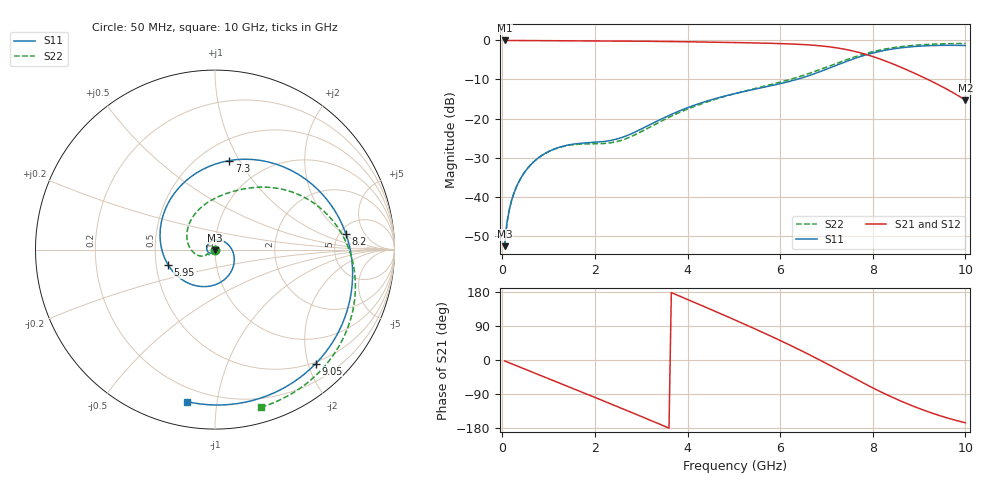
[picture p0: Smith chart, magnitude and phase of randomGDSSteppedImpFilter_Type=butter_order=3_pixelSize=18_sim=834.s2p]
! freq	dB(S11)	phase(S11)	dB(S12)	phase(S12)
!  dB(S21)	phase(S21)	dB(S22)	phase(S22)
!S-par simulation data
#  GHz  S  DB  R 50
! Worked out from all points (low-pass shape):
!   200 points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, 50 MHz to 10 GHz, reference 50 ohm
!   highest |S21| = 0.00 dB at 50 MHz (marker M1); lowest = -15.3 dB at 10 GHz (marker M2)
!   |S21| within 3 dB of the highest: start of sweep to 7.678 GHz
!   lowest |S11| = -52.7 dB at 50 MHz (marker M3), VSWR 1.00, Z = 50 - j0.232 ohm
!   |S11| at or under -10 dB: start of sweep to 6.354 GHz
!   |S22| runs from -52.5 to -0.8 dB; largest |S21 - S12| = 0
!   S11 on the Smith chart (normalised r, x): 50 MHz: 1.00, -0.00; 5.95 GHz: 0.58, -0.11; 7.3 GHz: 0.68, +0.91; 8.2 GHz: 5.71, +2.15; 9.05 GHz: 0.47, -2.13; 10 GHz: 0.13, -0.82
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0.05  -52.69 -90.3  -0.00 -2.5  -0.00 -2.5  -52.53 -88.6
0.1  -46.80 -93.6  -0.01 -5.0  -0.01 -5.0  -46.75 -91.0
0.2  -41.02 -100.1  -0.02 -9.9  -0.02 -9.9  -41.00 -96.1
0.5  -33.46 -119.9  -0.03 -24.7  -0.03 -24.7  -33.44 -110.0
1.15  -27.67 -162.2  -0.07 -56.7  -0.07 -56.7  -27.73 -134.7
1.75  -26.28 152.4  -0.11 -86.3  -0.11 -86.3  -26.53 -149.9
2.5  -25.16 79.1  -0.15 -123.7  -0.15 -123.7  -25.82 -150.3
2.95  -22.99 34.4  -0.20 -146.4  -0.20 -146.4  -23.66 -149.1
3.4  -20.33 -2.4  -0.25 -169.3  -0.25 -169.3  -20.86 -157.1
4.15  -16.57 -50.8  -0.37 151.9  -0.37 151.9  -16.88 174.2
4.6  -14.89 -76.6  -0.45 128.3  -0.45 128.3  -15.06 152.7
5.05  -13.53 -102.4  -0.54 104.3  -0.54 104.3  -13.54 130.5
5.5  -12.37 -130.4  -0.65 79.7  -0.65 79.7  -12.18 109.0
5.95  -11.22 -162.0  -0.78 54.4  -0.78 54.4  -10.84 89.5
6.7  -8.69 135.2  -1.21 9.7  -1.21 9.7  -8.14 61.0
7.3  -5.97 80.8  -2.05 -28.6  -2.05 -28.6  -5.49 37.5
7.7  -4.26 46.1  -3.07 -54.6  -3.07 -54.6  -3.86 19.8
8.2  -2.68 6.8  -4.94 -85.6  -4.94 -85.6  -2.35 -3.4
8.35  -2.34 -4.0  -5.61 -94.3  -5.61 -94.3  -2.03 -10.3
9.05  -1.43 -48.5  -9.21 -130.1  -9.21 -130.1  -1.11 -40.0
9.55  -1.25 -76.2  -12.17 -150.8  -12.17 -150.8  -0.85 -58.5
10  -1.30 -100.6  -15.30 -165.5  -15.30 -165.5  -0.77 -73.6
